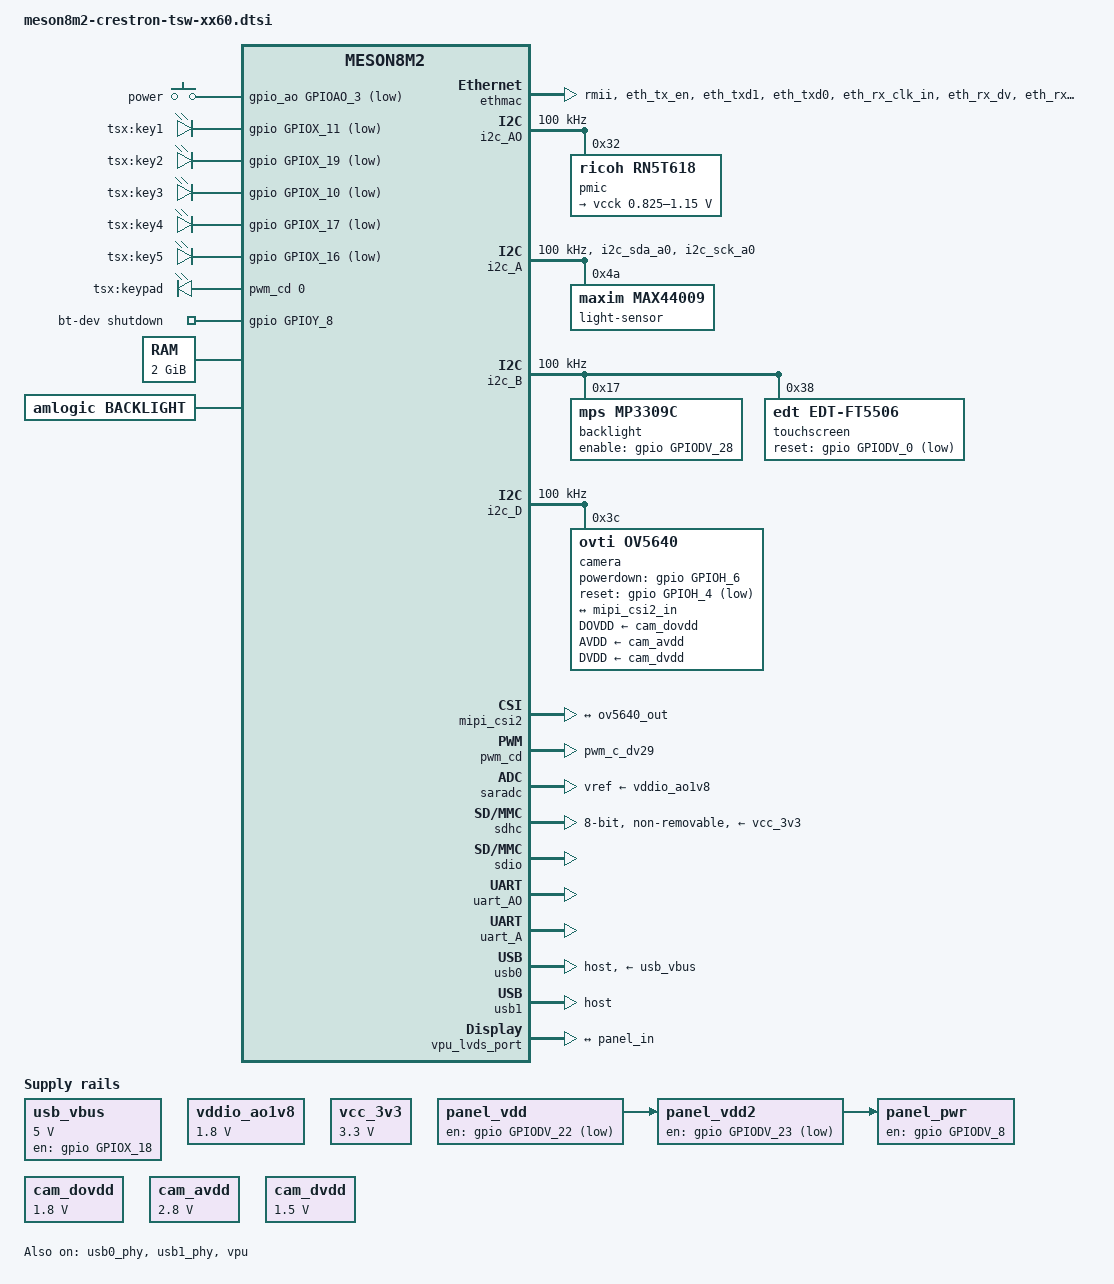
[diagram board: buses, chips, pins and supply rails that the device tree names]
// SPDX-License-Identifier: (GPL-2.0+ OR MIT)
/*
 * Crestron TSW-760 / TSW-1060 / TSS-10 (board "yushan_one"): everything the
 * 7-inch and 10-inch panels share. The board files add the panel-size parts:
 * model and compatible, the boot-logo framebuffer (in /chosen), the LVDS
 * panel node and timings, the touchscreen size and its touch-overlay (screen
 * area and the five key zones right of the LCD), and then include the audio
 * dtsi (after the panel node, so the 10-inch DTB keeps its node order).
 *
 * The panel is driven by drm/meson (VPU LVDS output, panel-lvds). Until
 * drm/meson binds, the console uses the boot-logo framebuffer that U-Boot
 * left scanning out (simple-framebuffer); drm/meson removes it when it
 * binds.
 *
 * Vendor references: yushan_one_10inch.dtd and yushan_one_7inch.dtd
 * (Amlogic 3.10 kernel), where i2c-0 = I2C_AO, i2c-1 = I2C_A, i2c-2 = I2C_B.
 * The two differ only in the panel, the touch key zones and the backlight
 * dimming limits.
 */

#include "meson8m2.dtsi"

#include <dt-bindings/gpio/gpio.h>
#include <dt-bindings/input/input.h>
#include <dt-bindings/interrupt-controller/irq.h>
#include <dt-bindings/media/video-interfaces.h>

/ {
	aliases {
		ethernet0 = &ethmac;
		serial0 = &uart_AO;
		serial1 = &uart_A;
		/* same numbering as the vendor kernel */
		i2c0 = &i2c_AO;
		i2c1 = &i2c_A;
		i2c2 = &i2c_B;
		mmc0 = &sd_card_slot;
		mmc1 = &sdhc;
	};

	chosen {
		#address-cells = <1>;
		#size-cells = <1>;
		ranges;
		stdout-path = "serial0:115200n8";

	};

	gpio-keys-polled {
		compatible = "gpio-keys-polled";
		poll-interval = <100>;

		/* vendor gpio_keypad: GPIOAO_3, KEY_POWER */
		button-power {
			label = "power";
			linux,code = <KEY_POWER>;
			gpios = <&gpio_ao GPIOAO_3 GPIO_ACTIVE_LOW>;
		};
	};

	/*
	 * Front-panel key LEDs (vendor keypad_led node, jbl_kpled driver):
	 * one enable GPIO per key and one common
	 * brightness PWM, PWM_C on GPIODV_29 (kpled_ctrl_method = 2, positive
	 * logic, 366 Hz, duty 0..100 %). A key is lit when its enable is on
	 * and the brightness is above 0.
	 * Checked at the panel 2026-09-26 (eyes): the enables are active LOW
	 * (the vendor "high = on" is inverted by the board), and the vendor
	 * led1..5 order is bottom to top. Here tsx:key1..5 = top to bottom, the
	 * same order as the touch keys KEY_F13..KEY_F17.
	 * U-Boot lights the keys (enables on, PWM 50 %); both nodes keep that
	 * state when they probe, so the keys do not go dark and light up again
	 * during boot (userspace, tsx-buttons, sets the level later).
	 */
	keypad-leds {
		compatible = "gpio-leds";

		led-1 {
			label = "tsx:key1";
			gpios = <&gpio GPIOX_11 GPIO_ACTIVE_LOW>;
			default-state = "on";
		};

		led-2 {
			label = "tsx:key2";
			gpios = <&gpio GPIOX_19 GPIO_ACTIVE_LOW>;
			default-state = "on";
		};

		led-3 {
			label = "tsx:key3";
			gpios = <&gpio GPIOX_10 GPIO_ACTIVE_LOW>;
			default-state = "on";
		};

		led-4 {
			label = "tsx:key4";
			gpios = <&gpio GPIOX_17 GPIO_ACTIVE_LOW>;
			default-state = "on";
		};

		led-5 {
			label = "tsx:key5";
			gpios = <&gpio GPIOX_16 GPIO_ACTIVE_LOW>;
			default-state = "on";
		};
	};

	keypad-backlight {
		compatible = "pwm-leds";

		led-0 {
			label = "tsx:keypad";
			/* 366 Hz like the vendor (24 MHz / 65536) */
			pwms = <&pwm_cd 0 2730000 0>;
			max-brightness = <255>;
			default-state = "keep";
		};
	};

	/*
	 * CSR8811 Bluetooth (vendor bt-dev, "amlogic,bt-dev" gpio_reset =
	 * GPIOY_8). The chip is BCSP over UART A (&uart_A below), not HCI
	 * H4/H5, and needs a PSR upload from userspace before hciattach; a
	 * "bluetooth" child of the UART is not usable here, so the reset
	 * line is exposed as a plain rfkill instead. The vendor
	 * bt_init.sh resets the chip by writing 0 then 1 to the rfkill
	 * sysfs "state" (soft-block then unblock), i.e. active high asserts
	 * shutdown.
	 */
	bt_rfkill: bt-rfkill {
		compatible = "rfkill-gpio";
		label = "bt-dev";
		radio-type = "bluetooth";
		shutdown-gpios = <&gpio GPIOY_8 GPIO_ACTIVE_HIGH>;
	};

	/* U-Boot rewrites this with the real DRAM size */
	memory@0 {
		device_type = "memory";
		reg = <0x0 0x80000000>;
	};

	reserved-memory {
		/* U-Boot boot-logo framebuffer, still being scanned out */
		fb@7900000 {
			reg = <0x07900000 0x300000>;
			no-map;
		};

		/* vendor ramoops (ramoops.mem_address in the U-Boot bootargs) */
		ramoops@4e00000 {
			reg = <0x04e00000 0x100000>;
			no-map;
		};
	};

	usb_vbus: regulator-usb-vbus {
		/* vendor usb_a gpio-vbus-power = "GPIOX_18" ("DWC_OTG", high) */
		compatible = "regulator-fixed";
		regulator-name = "USB_VBUS";
		regulator-min-microvolt = <5000000>;
		regulator-max-microvolt = <5000000>;
		gpio = <&gpio GPIOX_18 GPIO_ACTIVE_HIGH>;
		enable-active-high;
	};

	/* SAR ADC reference (AVDD 1.8 V); fixed placeholder, see pmic@32 */
	vddio_ao1v8: regulator-vddio-ao1v8 {
		compatible = "regulator-fixed";
		regulator-name = "VDDIO_AO18";
		regulator-min-microvolt = <1800000>;
		regulator-max-microvolt = <1800000>;
	};

	vcc_3v3: regulator-vcc3v3 {
		compatible = "regulator-fixed";
		regulator-name = "VCC3V3";
		regulator-min-microvolt = <3300000>;
		regulator-max-microvolt = <3300000>;
	};

	/*
	 * LVDS panel power, the same on both panel sizes (vendor
	 * yushan_one_10inch.dtd and yushan_one_7inch.dtd):
	 *   on:  GPIODV_22=0 (10 ms), GPIODV_23=0 (20 ms), GPIODV_8=0 (150 ms),
	 *        GPIODV_8=1 (20 ms), LVDS signal on (10 ms), then backlight
	 *   off: LVDS signal off (20 ms), GPIODV_8=0 (120 ms), GPIODV_23=1 (10 ms),
	 *        GPIODV_22=1 (100 ms)
	 * Modelled as a chain of fixed regulators: enabling the last one enables its
	 * supplies first and waits each startup delay. GPIODV_8 is low while
	 * GPIODV_23 settles, so its 150 ms low time is part of the GPIODV_23 delay.
	 * The 20/120/10 ms power-off gaps have no regulator-fixed equivalent; only
	 * the 100 ms before the next power-on is kept (off-on-delay-us).
	 * regulator-boot-on: U-Boot has powered the panel and shows its logo when
	 * the kernel starts. Without it, each regulator switched the panel off
	 * when it probed, while the backlight stayed on, until the first mode
	 * set (the boot splash, ~2.2 s later) powered it up again: a visible
	 * flash on every boot. With it the panel stays powered from U-Boot to
	 * the first mode set, which then finds the regulators already on. A
	 * later power-off (DPMS off) and power-on get the full sequence.
	 */
	panel_vdd: regulator-panel-vdd {
		compatible = "regulator-fixed";
		regulator-name = "LCD_PWR_DV22";
		regulator-boot-on;
		gpio = <&gpio GPIODV_22 GPIO_ACTIVE_LOW>;
		startup-delay-us = <10000>;
		off-on-delay-us = <100000>;
	};

	panel_vdd2: regulator-panel-vdd2 {
		compatible = "regulator-fixed";
		regulator-name = "LCD_PWR_DV23";
		regulator-boot-on;
		gpio = <&gpio GPIODV_23 GPIO_ACTIVE_LOW>;
		vin-supply = <&panel_vdd>;
		startup-delay-us = <170000>;	/* 20 ms + GPIODV_8 low 150 ms */
	};

	panel_pwr: regulator-panel-en {
		compatible = "regulator-fixed";
		regulator-name = "LCD_EN_DV8";
		regulator-boot-on;
		gpio = <&gpio GPIODV_8 GPIO_ACTIVE_HIGH>;
		enable-active-high;
		vin-supply = <&panel_vdd2>;
		startup-delay-us = <20000>;
	};

	/*
	 * Camera supplies (see camera@3c below). The vendor never switches a
	 * camera supply, so the three supplies are fixed and always on. Their
	 * voltages are the OV5640 nominal values.
	 */
	cam_dovdd: regulator-cam-dovdd {
		compatible = "regulator-fixed";
		regulator-name = "CAM_DOVDD";
		regulator-min-microvolt = <1800000>;
		regulator-max-microvolt = <1800000>;
		regulator-always-on;
	};

	cam_avdd: regulator-cam-avdd {
		compatible = "regulator-fixed";
		regulator-name = "CAM_AVDD";
		regulator-min-microvolt = <2800000>;
		regulator-max-microvolt = <2800000>;
		regulator-always-on;
	};

	cam_dvdd: regulator-cam-dvdd {
		compatible = "regulator-fixed";
		regulator-name = "CAM_DVDD";
		regulator-min-microvolt = <1500000>;
		regulator-max-microvolt = <1500000>;
		regulator-always-on;
	};

	thermal-zones {
		soc-thermal {
			/*
			 * The vendor thermal table (yushan_one_10inch.dtd,
			 * trip_point) caps the CPU at 1608 MHz from 70 C,
			 * 1200 MHz from 80 C and 800 MHz from 90 C. Above
			 * 70 C step_wise may go down to cooling state 1, one
			 * OPP below the top: 1416 MHz, since 1608 MHz is the
			 * top OPP. This is kept on purpose. With four cores
			 * busy for 15 min (case closed) the CPU stays at
			 * 1416 MHz and 75-77 C; without this trip it runs at
			 * 1608/1416/1200 MHz and 80-84 C for only 3 % more
			 * throughput. A realistic kiosk load (dashboard
			 * reloads, audio, voice) stays below 70 C at 1608 MHz.
			 * meson8.dtsi's 80 C passive trip (unlimited) and
			 * 90 C hot trip still apply.
			 */
			trips {
				soc_warm: soc-warm {
					temperature = <70000>; /* millicelsius */
					hysteresis = <2000>; /* millicelsius */
					type = "passive";
				};
			};

			cooling-maps {
				map-warm {
					trip = <&soc_warm>;
					cooling-device = <&cpu0 THERMAL_NO_LIMIT 1>,
							 <&cpu1 THERMAL_NO_LIMIT 1>,
							 <&cpu2 THERMAL_NO_LIMIT 1>,
							 <&cpu3 THERMAL_NO_LIMIT 1>;
				};
			};
		};
	};

	/*
	 * Vendor U-Boot display configuration. The nodes from here to the end
	 * of this block are for the vendor U-Boot only; no Linux driver uses
	 * them.
	 *
	 * Before its autoboot prompt, the vendor U-Boot runs the env command
	 * preloaddtb ("imgread dtb boot"): it reads the DTB of the Android
	 * boot image in the eMMC "boot" partition (picked from the multi-DTB
	 * container by aml_dt) and then sets up the VPU, the LCD, the
	 * backlight and the key LEDs from these nodes, looked up by path
	 * (/vpu, /lcd, /lcd_<model>, /backlight, /bl_extern_*, /lcd_extern_*,
	 * /keypad_led and /pinmux/<name>). Without them it falls back to a
	 * built-in MIPI-DSI default ("lcd_clk=39.999MHz, frame_rate=0.0Hz"),
	 * and the TSW-760 stays black until the kernel sets the mode.
	 *
	 * The nodes are copied from the stock firmware 3.002.1061 DTBs
	 * (yushan_one_10inch / yushan_one_7inch), without the properties only
	 * the vendor kernel reads (pinctrl-*, lcd_model_config; U-Boot finds
	 * the model node by lcd_model_name) and without the fixed phandle
	 * numbers. The panel model node and bl_extern_i2c_mp3309c differ by
	 * panel size and are in the board files. No compatible here matches a
	 * Linux driver.
	 */
	vpu {
		compatible = "amlogic,vpu";
		dev_name = "vpu";
		status = "ok";
		clk_level = <7>;
	};

	backlight {
		compatible = "amlogic,backlight";
		dev_name = "backlight";
		status = "okay";
		bl_level_default_uboot_kernel = <128 128>;
		bl_level_middle_mapping = <128 128>;
		bl_level_max_min = <255 1>;
		bl_power_on_delay = <200>;
		bl_ctrl_method = <4>;
		bl_gpio_port_on_off = "GPIODV_28", "1", "0";
		bl_gpio_dim_max_min = <0x0 0xf>;
		bl_pwm_port_gpio_used = "PWM_C", "1";
		bl_pwm_freq = <10000>;
		bl_pwm_duty_max_min = <100 1>;
	};

	bl_extern_i2c_lp8556 {
		compatible = "amlogic,bl_i2c_lp8556";
		dev_name = "bl_i2c_lp8556";
		status = "disabled";
		gpio_enable_on_off = "GPIODV_28", "1", "0";
		type = <0>;
		i2c_address = <0x2c>;
		i2c_bus = "i2c_bus_b";
		dim_max_min = <255 10>;
	};

	lcd {
		compatible = "amlogic,lcd";
		dev_name = "lcd";
		status = "okay";
		lcd_model_name = "lcd_LP097X02";
		lcd_bits_user = <8>;
		ttl_rb_bit_swap = <0 0>;
		lvds_channel_pn_swap = <0>;
		valid_hvsync_de = <1 1>;
		hsign_hoffset_vsign_voffset = <0 0 0 0>;
		dither_user_ctrl = <0 0x000>;
		vadj_brightness_contrast_saturation = <0x0 0x80 0x100>;
		gamma_en_reverse = <1 0>;
		gamma_multi_rgb_coeff = <0 100 100 100>;
		gamma_table = <0 1 2 3 4 5 6 7 8 8 9 10
			11 12 13 15 16 17 18 19 20 21 22 23
			24 25 26 27 28 29 30 31 32 33 34 35
			36 37 37 38 39 40 41 42 43 44 45 46
			47 48 49 50 50 51 52 53 54 55 56 57
			57 58 59 60 61 62 63 64 65 65 67 67
			68 69 70 71 72 73 74 75 76 76 77 78
			79 80 81 82 82 83 84 85 86 87 88 88
			89 90 91 92 93 94 95 96 97 97 98 99
			100 101 102 103 104 105 106 107 108 109 110 111
			112 113 114 115 116 117 118 119 120 121 122 123
			124 125 126 127 128 129 130 131 131 132 133 135
			136 136 138 139 140 141 142 143 144 145 146 147
			148 149 151 152 153 154 155 156 157 158 159 160
			161 162 163 164 165 166 167 168 169 170 171 172
			173 174 176 177 178 179 180 181 182 183 184 185
			186 188 189 190 191 192 193 195 196 197 198 199
			200 202 203 204 205 206 208 209 210 211 212 213
			214 216 217 218 219 220 221 222 223 224 225 226
			228 229 230 231 232 233 234 235 236 237 238 239
			240 241 242 243 244 245 246 247 248 249 250 251
			252 253 254 255>;
		clock_spread_spectrum = <0>;
		clock_auto_generation = <1>;
		clk_pll_div_clk_ctrl = <0x100042b 0x18833 0x03a82102>;
		lvds_vswing = <1>;
		lvds_user_repack = <0 0>;
		edp_user_link_rate_lane_count = <1 1 4>;
		edp_link_adaptive_vswing = <0 0>;
		edp_sync_clock_mode = <1>;
		edp_edid_timing_used = <0>;
		rgb_base_coeff = <0xf0 0x74a>;
		power_on_step_1 = "cpu", "GPIODV_22", "0";
		power_on_step_2 = "cpu", "GPIODV_23", "0";
		power_on_step_3 = "cpu", "GPIODV_8", "0";
		power_on_step_4 = "cpu", "GPIODV_8", "1";
		power_on_step_5 = "signal";
		power_on_delay = <10 20 150 20 10>;
		power_off_step_1 = "signal";
		power_off_step_2 = "cpu", "GPIODV_8", "0";
		power_off_step_3 = "cpu", "GPIODV_23", "1";
		power_off_step_4 = "cpu", "GPIODV_22", "1";
		power_off_delay = <20 120 10 100>;
	};

	lcd_extern_mipi_TFT540960 {
		compatible = "amlogic,lcd_mipi_TFT540960";
		dev_name = "lcd_mipi_TFT540960";
		status = "okay";
		type = <2>;
	};

	keypad_led {
		compatible = "amlogic,keypad_led";
		dev_name = "kpled";
		status = "okay";
		kpled_level_default_uboot_kernel = <128 128>;
		kpled_level_middle_mapping = <102 70>;
		kpled_level_max_min = <255 1>;
		kpled_power_on_delay = <200>;
		kpled_ctrl_method = <2>;
		kpled_gpio_port_on_off = "GPIOX_16", "GPIOX_17", "GPIOX_10",
					 "GPIOX_19", "GPIOX_11", "0", "1";
		kpled_gpio_dim_max_min = <0x0 0xf>;
		kpled_pwm_port_gpio_used = "PWM_C", "1";
		kpled_pwm_freq = <366>;
		kpled_pwm_duty_max_min = <100 0>;
	};

	/* only the pin groups the U-Boot key LED and backlight code look up */
	pinmux {
		compatible = "amlogic,pinmux-m8";
		dev_name = "pinmux";
		#pinmux-cells = <2>;

		keypad_led {
			amlogic,setmask = <3 0x2000000>;
			amlogic,clrmask = <3 0x0>;
			amlogic,pins = "GPIODV_29";
		};

		lcd_backlight {
			amlogic,setmask = <3 0x1000000>;
			amlogic,clrmask = <0 0x48 7 0x10000200>;
			amlogic,pins = "GPIODV_9";
		};

		lcd_backlight_combo {
			amlogic,setmask = <3 0x5000000>;
			amlogic,clrmask = <0 0x48 7 0x18000200>;
			amlogic,pins = "GPIODV_9", "GPIODV_28";
		};
	};
};

/*
 * VCCK is DCDC1 of the RN5T618 (see pmic@32). Same pattern as
 * meson8m2-mxiii.dtsi; all four CPUs name the supply (like
 * meson8m2-wetek-core.dts) although they share one OPP table and policy.
 */
&cpu0 {
	cpu-supply = <&vcck>;
};

&cpu1 {
	cpu-supply = <&vcck>;
};

&cpu2 {
	cpu-supply = <&vcck>;
};

&cpu3 {
	cpu-supply = <&vcck>;
};

/*
 * The top OPP is 1608 MHz. opp-1800000000 and opp-1992000000 (both
 * disabled in meson8.dtsi) stay off on this board:
 *
 * - 1800 MHz / 1125 mV: VCCK follows the OPP and a constant single-core
 *   load passes, but the kiosk's bursty load panicked the kernel twice
 *   within a minute (register corruption on CPU3, idle/IRQ-exit path),
 *   for only +11 % single-core throughput. It was a turbo-mode boost OPP
 *   here before; removed so userspace cannot turn it on.
 * - 1992 MHz / 1150 mV (sys_pll M=83): oopsed 8 s into boot (random kernel
 *   state corruption on CPU3, then a panic). The vendor DVFS table's
 *   "1992 MHz" is sys_pll 0x4000c247, whose M field is 71 (1704 MHz at
 *   24 MHz/step) plus undocumented bits 14-15, so the vendor never ran a
 *   real 1992 MHz either.
 *
 * See docs/hardware.md "SoC and CPU" in tsx-xx60-linux.
 */

/*
 * No CVBS connector on this board. The VPU node references the DAC as its
 * "cvbs-dac" PHY; left enabled without a PHY driver, fw_devlink holds the VPU
 * (and so the panel) back until the 10 s deferred probe timeout.
 */
&cvbs_dac {
	status = "disabled";
};

&ethmac {
	status = "okay";
	pinctrl-0 = <&eth_rmii_pins>;
	pinctrl-names = "default";
	/* vendor DTS: "meson8m2-rmii-dwmac"; PHY found by scanning the MDIO bus */
	phy-mode = "rmii";
};

/* i2c-0: RN5T618 PMIC */
&i2c_AO {
	status = "okay";
	pinctrl-0 = <&i2c_ao_pins>;
	pinctrl-names = "default";
	clock-frequency = <100000>;

	pmic@32 {
		compatible = "ricoh,rn5t618";
		reg = <0x32>;

		/*
		 * Rail map (vendor kernel ricoh_pmu.c convert_id_to_dcdc(),
		 * U-Boot firmware/power.c rn5t618_power_init(), and the SPL
		 * log "DC01 v:1100, 0x[36]"): DCDC1 = VCCK (CPU core, 1.1 V at
		 * boot), DCDC2 = VDDEE/VDDAO (1.15 V), DCDC3 = DDR3L (U-Boot
		 * sets 1.5 V, then 1.35 V after DDR init).
		 *
		 * Only DCDC1 gets constraints, for cpufreq. Every other rail
		 * has no child node, so the regulator core registers it
		 * without init data: read-only, no voltage change, no
		 * enable/disable, exactly as U-Boot left it.
		 * regulator-always-on on a rail that is off would switch it
		 * on, and constraints without it would let
		 * regulator_late_cleanup switch off rails nobody claims.
		 */
		regulators {
			vcck: DCDC1 {
				regulator-name = "vcck";
				regulator-min-microvolt = <825000>;
				regulator-max-microvolt = <1150000>;
				/*
				 * The driver has no ramp data. The vendor
				 * kernel waits 100 us after each DCDC write
				 * (steps of 25..75 mV); 0.25 mV/us is at least
				 * as slow for every step (50 mV -> 200 us).
				 */
				regulator-ramp-delay = <250>;
				regulator-boot-on;
				regulator-always-on;
			};
		};
	};
};

/*
 * i2c-1 (vendor i2c_bus_a):
 *   0x0e  unknown (not in the vendor DT or the Android init scripts)
 *   0x34  NXP TFA9890 smart amplifier, left speaker   (vendor
 *   0x36  NXP TFA9890 smart amplifier, right speaker   audio/tfa9890/.../stereo.ini)
 *   0x45  Microsemi ZLS38051 (ZL380xx "Timberwolf") voice processor; boots
 *         its firmware + config from its own SPI flash (vendor zls38051.h:
 *         ZL380XX_TW_UPDATE_FIRMWARE undefined)
 *   0x4a  Maxim MAX44009 ambient light sensor, INT on GPIOX_7
 * Audio (TFA9890, ZLS38051, AIU): meson8m2-crestron-tsw1060-audio.dtsi.
 */
&i2c_A {
	status = "okay";
	pinctrl-0 = <&i2c_a_pins>;
	pinctrl-names = "default";
	clock-frequency = <100000>;

	/*
	 * vendor sensor/max44009: address 0x4a, irq GPIOX_7 (vendor gpio 119
	 * "ls_max44009", input, reads high: external pull-up, open-drain
	 * active-low INT). gpio_intc numbers the pads globally: GPIOX_7 = 119.
	 * The mainline driver uses the interrupt only for threshold events;
	 * reads work without it.
	 */
	light-sensor@4a {
		compatible = "maxim,max44009";
		reg = <0x4a>;
		interrupt-parent = <&gpio_intc>;
		interrupts = <119 IRQ_TYPE_EDGE_FALLING>;
	};
};

/* i2c-2: backlight driver and touch controller */
&i2c_B {
	status = "okay";
	pinctrl-0 = <&i2c_b_pins>;
	pinctrl-names = "default";
	clock-frequency = <100000>;

	/*
	 * Vendor bl_ctrl_method = 4 (extern) with bl_extern_i2c_mp3309c:
	 * analog (I2C) dimming, EN on GPIODV_28. The vendor writes
	 * reg1 = 0x28 (SYNC, OVP 35.5 V), which is also the mainline
	 * driver default. The vendor never uses dimming steps above 23 on
	 * the 10-inch (24 on EDT glass) and 29 on the 7-inch (25 on EDT
	 * glass); the mainline driver exposes 0..31.
	 * default-brightness: the step U-Boot leaves, so the probe does not
	 * change the brightness of the U-Boot logo. The vendor maps its level
	 * 128 of 1..255 onto the dimming range, rounded: 12 on the 10-inch
	 * (1..23), 13 on its EDT glass (2..24); 16 on the 7-inch (2..29), 13
	 * on its EDT glass (1..25). The TSW-1060 and TSW-760 panels seen so
	 * far all have EDT glass (U-Boot env lcmsupplier=edt): 13 on both.
	 */
	backlight: backlight@17 {
		compatible = "mps,mp3309c";
		reg = <0x17>;
		enable-gpios = <&gpio GPIODV_28 GPIO_ACTIVE_HIGH>;
		default-brightness = <13>;
	};

	/* vendor touch_ft5x06: irq GPIOX_21, reset GPIODV_0 */
	touchscreen: touchscreen@38 {
		compatible = "edt,edt-ft5506";
		reg = <0x38>;
		interrupt-parent = <&gpio_intc>;
		/* gpio_intc numbers the pads globally: GPIOX_21 = 133 */
		interrupts = <133 IRQ_TYPE_EDGE_FALLING>;
		reset-gpios = <&gpio GPIODV_0 GPIO_ACTIVE_LOW>;
	};
};

/*
 * I2C_D (i2c-3): the camera, an OmniVision OV5640 at 0x3c, 2-lane MIPI
 * CSI-2 to the CSI-2 receiver. The vendor DTBs of the 7-inch and the
 * 10-inch panel have the same camera node (yushan_one_7inch and
 * yushan_one_10inch: i2c_bus_d, power-down GPIOH_6, reset GPIOH_4, clock
 * pin GPIOH_9). They name an OV5645, but the sensor on the TSS-10 reads
 * chip ID 0x5640 (revision 0xb0).
 *
 * GPIOH_6 is the power-down line (high powers the sensor down, as in the
 * vendor OV5640 entry). GPIOH_4 is the reset line (active low). The master
 * clock is 24 MHz from GEN_CLK (XTAL, divider 1) on GPIOH_9.
 *
 * A panel with U-Boot government=1, such as the TSW-760-NC, has no camera.
 * There the sensor driver fails its probe at the first register access,
 * and the receiver gets no source.
 */
&i2c_D {
	status = "okay";
	pinctrl-0 = <&i2c_d1_pins>;
	pinctrl-names = "default";
	clock-frequency = <100000>;

	camera@3c {
		compatible = "ovti,ov5640";
		reg = <0x3c>;
		pinctrl-0 = <&gen_clk_h_pins>;
		pinctrl-names = "default";
		clocks = <&clkc CLKID_GEN_CLK>;
		clock-names = "xclk";
		assigned-clocks = <&clkc CLKID_GEN_CLK>;
		assigned-clock-rates = <24000000>;
		powerdown-gpios = <&gpio GPIOH_6 GPIO_ACTIVE_HIGH>;
		reset-gpios = <&gpio GPIOH_4 GPIO_ACTIVE_LOW>;
		DOVDD-supply = <&cam_dovdd>;
		AVDD-supply = <&cam_avdd>;
		DVDD-supply = <&cam_dvdd>;

		port {
			ov5640_out: endpoint {
				remote-endpoint = <&mipi_csi2_in>;
				bus-type = <MEDIA_BUS_TYPE_CSI2_DPHY>;
				clock-lanes = <0>;
				data-lanes = <1 2>;
			};
		};
	};
};

&mipi_csi2 {
	status = "okay";

	port {
		mipi_csi2_in: endpoint {
			remote-endpoint = <&ov5640_out>;
			data-lanes = <1 2>;
		};
	};
};

&pinctrl_cbus {
	/*
	 * RMII subset of eth_pins, as the vendor muxes it (PERIPHS_PIN_MUX_6 =
	 * 0x7de0): GPIOZ_0/1 carry I2C_A and GPIOZ_2/3 carry I2C_B instead of
	 * the RGMII TXD/RXD2..3 lines. The 50 MHz reference comes in on
	 * RX_CLK_IN (GPIOZ_8); TX_CLK_50M (GPIOZ_4) is not muxed.
	 */
	eth_rmii_pins: ethernet-rmii {
		mux {
			groups = "eth_tx_en", "eth_txd1", "eth_txd0",
				 "eth_rx_clk_in", "eth_rx_dv",
				 "eth_rxd1", "eth_rxd0",
				 "eth_mdio", "eth_mdc";
			function = "ethernet";
			bias-disable;
		};
	};

	pwm_c_dv29_pins: pwm-c-dv29 {
		mux {
			groups = "pwm_c_dv29";
			function = "pwm_c";
			bias-disable;
		};
	};

	i2c_a_pins: i2c-a {
		mux {
			groups = "i2c_sda_a0", "i2c_sck_a0";
			function = "i2c_a";
		};
	};

	/* camera master clock on GPIOH_9 (see camera@3c) */
	gen_clk_h_pins: gen-clk-h {
		mux {
			groups = "gen_clk_h";
			function = "gen_clk";
			bias-disable;
		};
	};
};

/* PWM_C: front-panel key LED brightness (GPIODV_29) */
&pwm_cd {
	status = "okay";
	pinctrl-0 = <&pwm_c_dv29_pins>;
	pinctrl-names = "default";
};

&saradc {
	status = "okay";
	vref-supply = <&vddio_ao1v8>;
};

/* eMMC (Hynix H4G2a, Android mmcblk1): U-Boot, its env, the Android boot image */
&sdhc {
	status = "okay";
	pinctrl-0 = <&sdxc_c_pins>;
	pinctrl-names = "default";
	bus-width = <8>;
	max-frequency = <50000000>;
	non-removable;
	disable-wp;
	cap-mmc-highspeed;
	no-sd;
	no-sdio;
	vmmc-supply = <&vcc_3v3>;
	vqmmc-supply = <&vcc_3v3>;
};

/* SD card (MP995, Android mmcblk0) on SDIO port B, CARD_0..5 */
&sdio {
	status = "okay";
	pinctrl-0 = <&sd_b_pins>;
	pinctrl-names = "default";

	sd_card_slot: slot@1 {
		compatible = "mmc-slot";
		reg = <1>;
		bus-width = <4>;
		max-frequency = <40000000>;
		no-mmc;
		no-sdio;
		cap-sd-highspeed;
		disable-wp;
		/* vendor gpio_cd = "CARD_6", gpio_cd_level = 1: high = inserted */
		cd-gpios = <&gpio CARD_6 GPIO_ACTIVE_HIGH>;
		vmmc-supply = <&vcc_3v3>;
	};
};

&uart_AO {
	status = "okay";
	pinctrl-0 = <&uart_ao_a_pins>;
	pinctrl-names = "default";
};

/*
 * CSR8811 Bluetooth, BCSP at 115200 with hardware flow control (vendor
 * a_uart_pins: GPIOX_12/13/14/15 = tx/rx/cts/rts, uart_a1 in mainline's
 * pinctrl-meson8; confirmed against yushan_one_10inch.dtd, which puts the
 * commented-out a0 pins GPIOX_4-7 on "bt pcm", not this UART). See
 * tsx-xx60-linux docs/hardware.md for the userspace bring-up (PSR upload, hciattach).
 */
&uart_A {
	status = "okay";
	pinctrl-0 = <&uart_a1_pins>, <&uart_a1_cts_rts_pins>;
	pinctrl-names = "default";
	uart-has-rtscts;
};

/*
 * vendor usb_a (lm0, Android bus 2): OTG port, VBUS switch on GPIOX_18.
 * Port 1 of this root hub is the STM32 that drives the RGB LED bar
 * (14be:001b, vendor sysfs /sys/devices/lm0/usb2/2-1/2-1:1.1/stm32_io,
 * leds-crestron-stm32 here). The external USB-A socket is on the same
 * port: with a stick in the socket neither Android nor mainline sees the
 * STM32 (serial logs of 2026-09-25), so the two presumably share the port via
 * a switch on the board. Host mode is forced; the vendor kernel ran it as
 * OTG with the hardware ID pin, which also ended in host mode.
 */
&usb0 {
	status = "okay";
	dr_mode = "host";
	vbus-supply = <&usb_vbus>;
};

&usb0_phy {
	status = "okay";
};

/* vendor usb_b (lm1, Android bus 1): host-only port, nothing attached on the TSW-1060 */
&usb1 {
	status = "okay";
	dr_mode = "host";
};

&usb1_phy {
	status = "okay";
};

&vpu {
	status = "okay";

	/*
	 * meson8.dtsi routes VCLK2 to the VID PLL; the LVDS pixel clock needs
	 * the VID2 PLL path: VIID post divider (/7) -> XD -> VCLK2 -> ENCL.
	 * The driver sets the same parents again before each modeset.
	 */
	assigned-clocks = <&clkc CLKID_VCLK_IN_SEL>,
			  <&clkc CLKID_VCLK2_IN_SEL>,
			  <&clkc CLKID_VIID_PLL>,
			  <&clkc CLKID_CTS_ENCL_SEL>;
	assigned-clock-parents = <&clkc CLKID_VID_PLL_FINAL_DIV>,
				 <&clkc CLKID_VID2_PLL_FINAL_DIV>,
				 <&clkc CLKID_VIID_PLL_POST_DIV>,
				 <&clkc CLKID_VCLK2_DIV1>;
};

&vpu_lvds_port {
	vpu_lvds_out: endpoint {
		remote-endpoint = <&panel_in>;
	};
};
